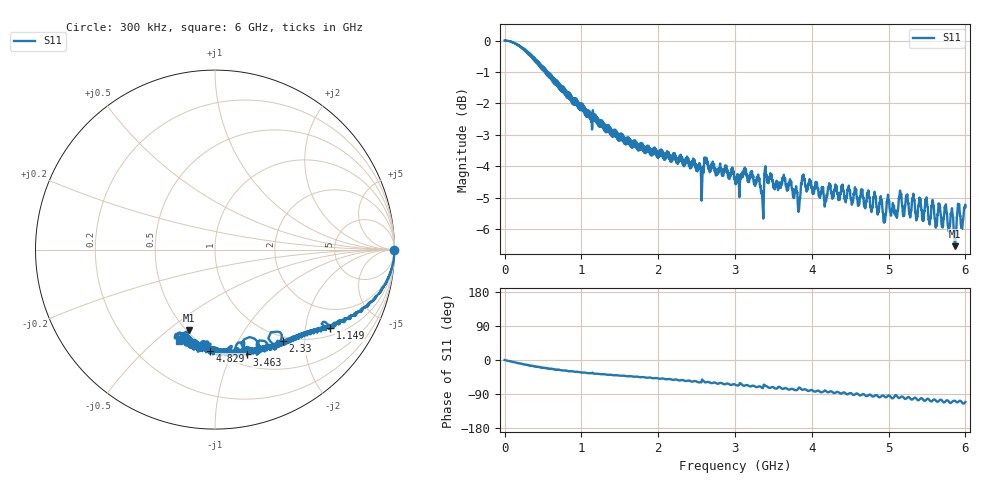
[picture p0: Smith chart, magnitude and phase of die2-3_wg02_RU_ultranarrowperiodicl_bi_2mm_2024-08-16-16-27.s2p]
!Keysight Technologies,P9374A,MY57304198,A.17.20.09
!Date: Friday, August 16, 2024 16:27:24
!Correction: S11(C  1-Port  )
!S21(C  1-Port  )
!S12(Off)
!S22(Off)
!S2P File: Measurements: S11, S21, S12, S22:
# Hz S  dB  R 50
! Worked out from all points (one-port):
!   6000 points, 300 kHz to 6 GHz, reference 50 ohm
!   lowest |S11| = -6.5 dB at 5.865 GHz (marker M1), VSWR 2.78, Z = 25.8 - j29.7 ohm
!   |S11| at or under -10 dB: nowhere
!   S11 on the Smith chart (normalised r, x): 300 kHz: open; 1.149 GHz: 1.25, -2.73; 2.33 GHz: 0.92, -1.57; 3.463 GHz: 0.62, -1.15; 4.829 GHz: 0.50, -0.82; 6 GHz: 0.42, -0.60
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300000  -0.00 -0.0  -200.00 45.0  -200.00 45.0  -200.00 45.0
4.193489e8  -0.62 -17.5  -200.00 45.0  -200.00 45.0  -200.00 45.0
1.000417e9  -2.16 -33.0  -200.00 45.0  -200.00 45.0  -200.00 45.0
1.149434e9  -2.22 -34.3  -200.00 45.0  -200.00 45.0  -200.00 45.0
2.000533e9  -3.70 -48.6  -200.00 45.0  -200.00 45.0  -200.00 45.0
2.329572e9  -3.94 -53.6  -200.00 45.0  -200.00 45.0  -200.00 45.0
3.00065e9  -4.47 -65.0  -200.00 45.0  -200.00 45.0  -200.00 45.0
3.293684e9  -4.44 -70.9  -200.00 45.0  -200.00 45.0  -200.00 45.0
3.350691e9  -4.85 -73.4  -200.00 45.0  -200.00 45.0  -200.00 45.0
3.399697e9  -4.16 -68.3  -200.00 45.0  -200.00 45.0  -200.00 45.0
3.462704e9  -4.28 -73.1  -200.00 45.0  -200.00 45.0  -200.00 45.0
3.787742e9  -4.81 -79.8  -200.00 45.0  -200.00 45.0  -200.00 45.0
3.827747e9  -5.38 -74.3  -200.00 45.0  -200.00 45.0  -200.00 45.0
3.885753e9  -4.38 -78.4  -200.00 45.0  -200.00 45.0  -200.00 45.0
4.000767e9  -4.70 -79.3  -200.00 45.0  -200.00 45.0  -200.00 45.0
4.828863e9  -4.99 -92.9  -200.00 45.0  -200.00 45.0  -200.00 45.0
4.944877e9  -5.70 -96.3  -200.00 45.0  -200.00 45.0  -200.00 45.0
5.000883e9  -5.10 -93.6  -200.00 45.0  -200.00 45.0  -200.00 45.0
5.555948e9  -5.35 -109.4  -200.00 45.0  -200.00 45.0  -200.00 45.0
5.810978e9  -5.52 -113.3  -200.00 45.0  -200.00 45.0  -200.00 45.0
5.864984e9  -6.55 -107.7  -200.00 45.0  -200.00 45.0  -200.00 45.0
6e9  -5.30 -111.0  -200.00 45.0  -200.00 45.0  -200.00 45.0
